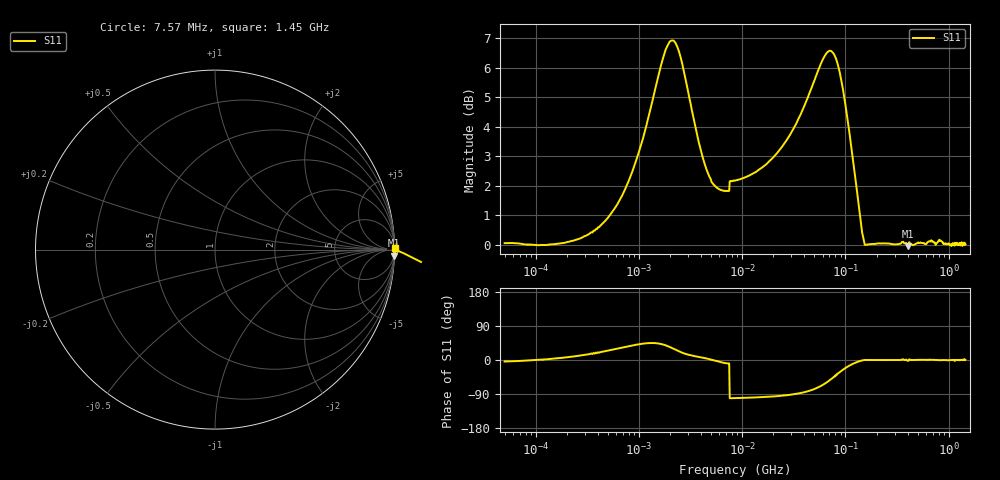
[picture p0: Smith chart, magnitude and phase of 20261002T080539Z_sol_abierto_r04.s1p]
! prueba_sol / sol_abierto / r04
# HZ S RI R 50
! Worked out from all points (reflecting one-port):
!   501 points, 50 kHz to 1.45 GHz, reference 50 ohm
!   lowest |S11| = 0.0 dB at 406 MHz (marker M1), VSWR 458.82, Z = 354 - j2.83e+03 ohm
!   phase of S11 starts at -4 deg and turns +4 deg over the sweep
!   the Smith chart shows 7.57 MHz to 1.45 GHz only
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50000  1.005 -0.0705
183000  1.002 0.1043
373000  1.012 0.3077
658000  1.02 0.6252
1180000  1.142 1.11
1630000  1.485 1.353
1990000  1.826 1.244
2440000  1.96 0.8219
2890000  1.806 0.4938
3430000  1.592 0.2942
4870000  1.299 0.041
7300000  1.22 -0.1939
7750000  -0.2413 -1.261
8560000  -0.235 -1.264
1.81e7  -0.1684 -1.373
3.16e7  -0.011 -1.577
4.78e7  0.3664 -1.823
5.68e7  0.6971 -1.885
6.49e7  1.046 -1.828
7.39e7  1.398 -1.599
8.47e7  1.635 -1.174
9.82e7  1.628 -0.6743
1e8  1.61 -0.6196
1.18e8  1.377 -0.2441
1.36e8  1.148 -0.0689
1.63e8  1.002 0.00101
4.06e8  0.995 -0.0347
1.45e9  1.003 0.00627
